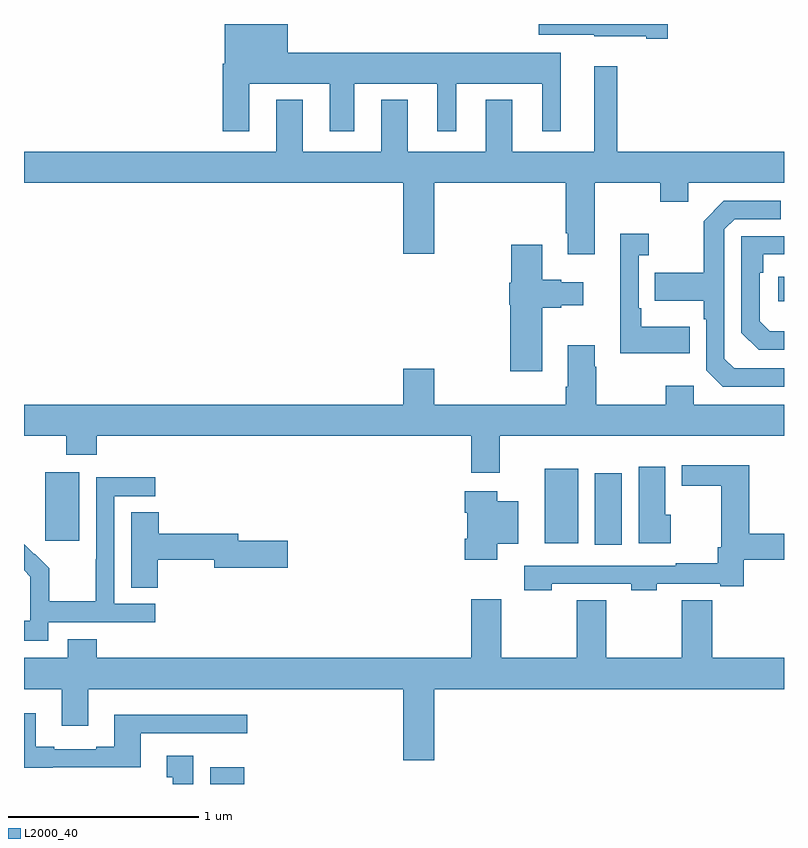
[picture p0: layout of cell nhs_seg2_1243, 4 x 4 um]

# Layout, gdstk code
import gdstk
lib = gdstk.Library(unit=1e-6, precision=1e-09)
def R(c, l, rs):  # rectangles x0, y0, x1, y1
    for r in rs: c.add(gdstk.rectangle(r[:2], r[2:], *l))
def P(c, l, *ps):  # polygons
    for p in ps: c.add(gdstk.Polygon(p, *l))
L2000_40 = (2000, 40)

nhs_seg2_1243 = lib.new_cell('nhs_seg2_1243')
R(nhs_seg2_1243, L2000_40, [(175.979,649.8,176.158,649.888), (178.004,651.06,178.147,651.436), (177.74,651.068,177.916,651.46), (175.112,651.081,175.291,651.442), (178.971,652.34,179,652.47)])
P(nhs_seg2_1243, L2000_40, [(178.387,653.8),(177.708,653.8),(177.708,653.744),(178.002,653.744),(178.002,653.735),(178.274,653.735),(178.274,653.723),(178.387,653.723)],
  [(176.185,653.486),(176.609,653.486),(176.609,653.235),(176.737,653.235),(176.737,653.486),(177.176,653.486),(177.176,653.235),(177.274,653.235),(177.274,653.486),(177.728,653.486),(177.728,653.235),(177.826,653.235),(177.826,653.65),(176.389,653.65),(176.389,653.8),(176.057,653.8),(176.057,653.59),(176.045,653.59),(176.045,653.235),(176.185,653.235)],
  [(178.003,652.964),(178.348,652.964),(178.348,652.865),(178.495,652.865),(178.495,652.964),(179,652.964),(179,653.128),(178.123,653.128),(178.123,653.578),(178.001,653.578),(178.001,653.128),(177.571,653.128),(177.571,653.401),(177.431,653.401),(177.431,653.128),(177.019,653.128),(177.019,653.401),(176.879,653.401),(176.879,653.128),(176.467,653.128),(176.467,653.401),(176.327,653.401),(176.327,653.128),(175,653.128),(175,652.964),(176.996,652.964),(176.996,652.59),(177.16,652.59),(177.16,652.964),(177.851,652.964),(177.851,652.699),(177.863,652.699),(177.863,652.587),(178.003,652.587)],
  [(179,651.987),(178.737,651.987),(178.686,652.038),(178.686,652.719),(178.74,652.773),(178.984,652.773),(178.984,652.869),(178.683,652.869),(178.578,652.763),(178.578,652.491),(178.321,652.491),(178.321,652.343),(178.578,652.343),(178.578,652.247),(178.59,652.247),(178.59,651.978),(178.677,651.891),(179,651.891)],
  [(178.505,652.207),(178.249,652.207),(178.249,652.303),(178.236,652.303),(178.236,652.583),(178.288,652.583),(178.288,652.696),(178.139,652.696),(178.139,652.067),(178.505,652.067)],
  [(179,652.183),(178.925,652.183),(178.872,652.236),(178.872,652.49),(178.892,652.49),(178.892,652.587),(179,652.587),(179,652.683),(178.776,652.683),(178.776,652.176),(178.866,652.086),(179,652.086)],
  [(177.727,652.307),(177.827,652.307),(177.827,652.319),(177.943,652.319),(177.943,652.441),(177.827,652.441),(177.827,652.454),(177.727,652.454),(177.727,652.639),(177.565,652.639),(177.565,652.437),(177.554,652.437),(177.554,652.323),(177.56,652.323),(177.56,651.972),(177.727,651.972)],
  [(177.505,651.632),(179,651.632),(179,651.796),(178.524,651.796),(178.524,651.895),(178.378,651.895),(178.378,651.796),(178.011,651.796),(178.011,651.995),(178.003,651.995),(178.003,652.108),(177.863,652.108),(177.863,651.892),(177.851,651.892),(177.851,651.796),(177.16,651.796),(177.16,651.985),(176.996,651.985),(176.996,651.796),(175,651.796),(175,651.632),(175.222,651.632),(175.222,651.533),(175.382,651.533),(175.382,651.632),(177.353,651.632),(177.353,651.438),(177.505,651.438)],
  [(177.777,650.853),(178.197,650.853),(178.197,650.821),(178.329,650.821),(178.329,650.853),(178.664,650.853),(178.664,650.841),(178.787,650.841),(178.787,650.98),(179,650.98),(179,651.116),(178.817,651.116),(178.817,651.478),(178.461,651.478),(178.461,651.369),(178.67,651.369),(178.67,651.046),(178.651,651.046),(178.651,650.962),(178.429,650.962),(178.429,650.949),(177.633,650.949),(177.633,650.821),(177.777,650.821)],
  [(178.405,651.216),(178.375,651.216),(178.375,651.469),(178.235,651.469),(178.235,651.068),(178.405,651.068)],
  [(175.128,650.652),(175.69,650.652),(175.69,650.748),(175.476,650.748),(175.476,651.315),(175.69,651.315),(175.69,651.414),(175.38,651.414),(175.38,650.984),(175.378,650.984),(175.378,650.761),(175.133,650.761),(175.133,650.935),(175.056,651.012),(175.053,651.009),(175,651.063),(175,650.924),(175.034,650.89),(175.034,650.793),(175.032,650.793),(175.032,650.659),(175,650.659),(175,650.555),(175.128,650.555)],
  [(177.49,651.065),(177.601,651.065),(177.601,651.289),(177.49,651.289),(177.49,651.34),(177.32,651.34),(177.32,651.227),(177.332,651.227),(177.332,651.091),(177.32,651.091),(177.32,650.979),(177.49,650.979)],
  [(175.704,650.98),(176,650.98),(176,650.938),(176.389,650.938),(176.389,651.08),(176.128,651.08),(176.128,651.116),(175.709,651.116),(175.709,651.23),(175.565,651.23),(175.565,650.833),(175.704,650.833)],
  [(177.16,650.3),(179,650.3),(179,650.464),(178.622,650.464),(178.622,650.768),(178.462,650.768),(178.462,650.464),(178.064,650.464),(178.064,650.768),(177.91,650.768),(177.91,650.464),(177.513,650.464),(177.513,650.773),(177.353,650.773),(177.353,650.464),(175.382,650.464),(175.382,650.563),(175.229,650.563),(175.229,650.464),(175,650.464),(175,650.3),(175.199,650.3),(175.199,650.106),(175.339,650.106),(175.339,650.3),(176.996,650.3),(176.996,649.926),(177.16,649.926)],
  [(175.151,649.887),(175.615,649.887),(175.615,650.067),(176.176,650.067),(176.176,650.164),(175.475,650.164),(175.475,649.996),(175.379,649.996),(175.379,649.983),(175.159,649.983),(175.159,649.996),(175.063,649.996),(175.063,650.173),(175,650.173),(175,649.886),(175.151,649.886)],
  [(175.891,649.948),(175.751,649.948),(175.751,649.835),(175.784,649.835),(175.784,649.8),(175.891,649.8)])

lib.write_gds('nhs_seg2_1243.gds')
